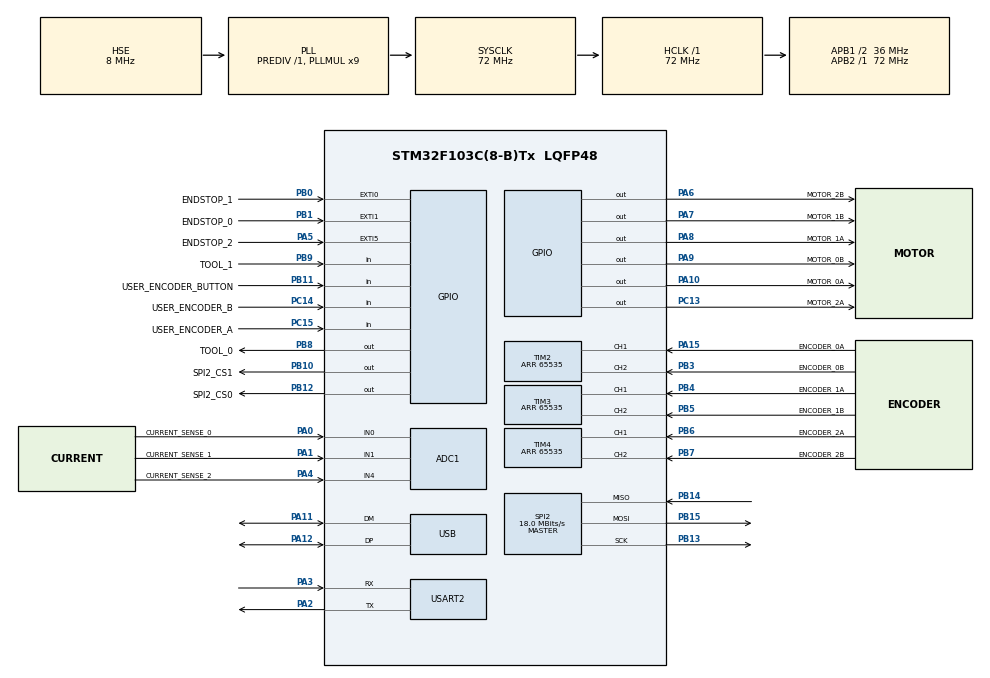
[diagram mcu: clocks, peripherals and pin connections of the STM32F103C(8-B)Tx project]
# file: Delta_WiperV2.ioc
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ADC1.Channel-1\#ChannelRegularConversion=ADC_CHANNEL_0
ADC1.NbrOfConversionFlag=1
ADC1.Rank-1\#ChannelRegularConversion=1
ADC1.SamplingTime-1\#ChannelRegularConversion=ADC_SAMPLETIME_1CYCLE_5
ADC1.master=1
Mcu.Family=STM32F1
Mcu.Name=STM32F103C(8-B)Tx
Mcu.Package=LQFP48
NVIC.EXTI0_IRQn=true\:0\:0\:false\:false\:true\:true\:true
NVIC.EXTI1_IRQn=true\:0\:0\:false\:false\:true\:true\:true
NVIC.EXTI9_5_IRQn=true\:0\:0\:false\:false\:true\:true\:true
NVIC.PriorityGroup=NVIC_PRIORITYGROUP_4
NVIC.TIM1_BRK_IRQn=true\:1\:0\:true\:false\:true\:true\:true
NVIC.TIM1_CC_IRQn=true\:1\:0\:true\:false\:true\:true\:true
NVIC.TIM1_TRG_COM_IRQn=true\:1\:0\:true\:false\:true\:true\:true
NVIC.TIM1_UP_IRQn=true\:1\:0\:true\:false\:true\:true\:true
NVIC.TIM2_IRQn=true\:0\:0\:false\:false\:true\:true\:true
NVIC.TIM3_IRQn=true\:0\:0\:false\:false\:true\:true\:true
NVIC.TIM4_IRQn=true\:0\:0\:false\:false\:true\:true\:true
PA0-WKUP.GPIO_Label=CURRENT_SENSE_0
PA0-WKUP.Signal=ADCx_IN0
PA1.GPIO_Label=CURRENT_SENSE_1
PA1.Signal=ADCx_IN1
PA10.GPIO_Label=MOTOR_0A
PA10.GPIO_Speed=GPIO_SPEED_FREQ_HIGH
PA10.Signal=GPIO_Output
PA11.Mode=Device
PA11.Signal=USB_DM
PA12.Mode=Device
PA12.Signal=USB_DP
PA13.Mode=Serial_Wire
PA13.Signal=SYS_JTMS-SWDIO
PA14.Mode=Serial_Wire
PA14.Signal=SYS_JTCK-SWCLK
PA15.GPIO_Label=ENCODER_0A
PA15.Signal=S_TIM2_CH1_ETR
PA2.Mode=Asynchronous
PA2.Signal=USART2_TX
PA3.Mode=Asynchronous
PA3.Signal=USART2_RX
PA4.GPIO_Label=CURRENT_SENSE_2
PA4.Signal=ADCx_IN4
PA5.GPIO_Label=ENDSTOP_2
PA5.GPIO_ModeDefaultEXTI=GPIO_MODE_IT_RISING_FALLING
PA5.Signal=GPXTI5
PA6.GPIO_Label=MOTOR_2B
PA6.GPIO_ModeDefaultOutputPP=GPIO_MODE_OUTPUT_PP
PA6.GPIO_Speed=GPIO_SPEED_FREQ_HIGH
PA6.Signal=GPIO_Output
PA7.GPIO_Label=MOTOR_1B
PA7.GPIO_Speed=GPIO_SPEED_FREQ_HIGH
PA7.Signal=GPIO_Output
PA8.GPIO_Label=MOTOR_1A
PA8.GPIO_Speed=GPIO_SPEED_FREQ_HIGH
PA8.Signal=GPIO_Output
PA9.GPIO_Label=MOTOR_0B
PA9.GPIO_Speed=GPIO_SPEED_FREQ_HIGH
PA9.Signal=GPIO_Output
PB0.GPIO_Label=ENDSTOP_1
PB0.GPIO_ModeDefaultEXTI=GPIO_MODE_IT_RISING_FALLING
PB0.Signal=GPXTI0
PB1.GPIO_Label=ENDSTOP_0
PB1.GPIO_ModeDefaultEXTI=GPIO_MODE_IT_RISING_FALLING
PB1.Signal=GPXTI1
PB10.GPIO_Label=SPI2_CS1
PB10.GPIO_Speed=GPIO_SPEED_FREQ_HIGH
PB10.Signal=GPIO_Output
PB11.GPIO_Label=USER_ENCODER_BUTTON
PB11.Signal=GPIO_Input
PB12.GPIO_Label=SPI2_CS0
PB12.GPIO_Speed=GPIO_SPEED_FREQ_HIGH
PB12.Signal=GPIO_Output
PB13.Mode=Full_Duplex_Master
PB13.Signal=SPI2_SCK
PB14.Mode=Full_Duplex_Master
PB14.Signal=SPI2_MISO
PB15.Mode=Full_Duplex_Master
PB15.Signal=SPI2_MOSI
PB3.GPIO_Label=ENCODER_0B
PB3.Signal=S_TIM2_CH2
PB4.GPIO_Label=ENCODER_1A
PB4.Signal=S_TIM3_CH1
PB5.GPIO_Label=ENCODER_1B
PB5.Signal=S_TIM3_CH2
PB6.GPIO_Label=ENCODER_2A
PB6.Signal=S_TIM4_CH1
PB7.GPIO_Label=ENCODER_2B
PB7.Signal=S_TIM4_CH2
PB8.GPIO_Label=TOOL_0
PB8.GPIO_Speed=GPIO_SPEED_FREQ_HIGH
PB8.Signal=GPIO_Output
PB9.GPIO_Label=TOOL_1
PB9.Signal=GPIO_Input
PC13-TAMPER-RTC.GPIO_Label=MOTOR_2A
PC13-TAMPER-RTC.GPIO_Speed=GPIO_SPEED_FREQ_HIGH
PC13-TAMPER-RTC.Signal=GPIO_Output
PC14-OSC32_IN.GPIO_Label=USER_ENCODER_B
PC14-OSC32_IN.Signal=GPIO_Input
PC15-OSC32_OUT.GPIO_Label=USER_ENCODER_A
PC15-OSC32_OUT.Signal=GPIO_Input
PD0-OSC_IN.Mode=HSE-External-Oscillator
PD0-OSC_IN.Signal=RCC_OSC_IN
PD1-OSC_OUT.Mode=HSE-External-Oscillator
PD1-OSC_OUT.Signal=RCC_OSC_OUT
ProjectManager.HeapSize=0x200
ProjectManager.StackSize=0x400
ProjectManager.TargetToolchain=STM32CubeIDE
RCC.ADCPresc=RCC_ADCPCLK2_DIV6
RCC.AHBFreq_Value=72000000
RCC.APB1CLKDivider=RCC_HCLK_DIV2
RCC.APB1Freq_Value=36000000
RCC.APB1TimFreq_Value=72000000
RCC.APB2Freq_Value=72000000
RCC.APB2TimFreq_Value=72000000
RCC.HCLKFreq_Value=72000000
RCC.PLLMUL=RCC_PLL_MUL9
RCC.SYSCLKFreq_VALUE=72000000
RCC.SYSCLKSource=RCC_SYSCLKSOURCE_PLLCLK
RCC.USBFreq_Value=48000000
RCC.USBPrescaler=RCC_USBCLKSOURCE_PLL_DIV1_5
SH.ADCx_IN0.0=ADC1_IN0,IN0
SH.ADCx_IN1.0=ADC1_IN1,IN1
SH.ADCx_IN4.0=ADC1_IN4,IN4
SH.S_TIM2_CH1_ETR.0=TIM2_CH1,Encoder_Interface
SH.S_TIM2_CH2.0=TIM2_CH2,Encoder_Interface
SH.S_TIM3_CH1.0=TIM3_CH1,Encoder_Interface
SH.S_TIM3_CH2.0=TIM3_CH2,Encoder_Interface
SH.S_TIM4_CH1.0=TIM4_CH1,Encoder_Interface
SH.S_TIM4_CH2.0=TIM4_CH2,Encoder_Interface
SPI2.CalculateBaudRate=18.0 MBits/s
SPI2.Direction=SPI_DIRECTION_2LINES
SPI2.Mode=SPI_MODE_MASTER
SPI2.VirtualType=VM_MASTER
TIM1.AutoReloadPreload=TIM_AUTORELOAD_PRELOAD_DISABLE
TIM1.BreakState=TIM_BREAK_DISABLE
TIM1.Channel-PWM\ Generation1\ No\ Output=TIM_CHANNEL_1
TIM1.Channel-PWM\ Generation2\ No\ Output=TIM_CHANNEL_2
TIM1.Channel-PWM\ Generation3\ No\ Output=TIM_CHANNEL_3
TIM1.Channel-PWM\ Generation4\ No\ Output=TIM_CHANNEL_4
TIM1.CounterMode=TIM_COUNTERMODE_UP
TIM1.Period=99
TIM1.Prescaler=7199
TIM1.Pulse-PWM\ Generation1\ No\ Output=0
TIM1.Pulse-PWM\ Generation3\ No\ Output=0
TIM1.Pulse-PWM\ Generation4\ No\ Output=98
TIM2.EncoderMode=TIM_ENCODERMODE_TI12
TIM2.Period=65535
TIM3.EncoderMode=TIM_ENCODERMODE_TI12
TIM3.Period=65535
TIM4.EncoderMode=TIM_ENCODERMODE_TI12
TIM4.Period=65535
USART2.VirtualMode=VM_ASYNC
VP_ADC1_TempSens_Input.Mode=IN-TempSens
VP_FATFS_VS_Generic.Mode=User_defined
VP_TIM1_VS_ClockSourceINT.Mode=Internal
VP_TIM1_VS_no_output1.Mode=PWM Generation1 No Output
VP_TIM1_VS_no_output2.Mode=PWM Generation2 No Output
VP_TIM1_VS_no_output3.Mode=PWM Generation3 No Output
VP_TIM1_VS_no_output4.Mode=PWM Generation4 No Output
board=custom

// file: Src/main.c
/* USER CODE BEGIN Header */
/**
  ******************************************************************************
  * @file           : main.c
  * @brief          : Main program body
  ******************************************************************************
  * @attention
  *
  * <h2><center>&copy; Copyright (c) 2019 STMicroelectronics.
  * All rights reserved.</center></h2>
  *
  * This software component is licensed by ST under BSD 3-Clause license,
  * the "License"; You may not use this file except in compliance with the
  * License. You may obtain a copy of the License at:
  *                        opensource.org/licenses/BSD-3-Clause
  *
  ******************************************************************************
  */
/* USER CODE END Header */

#include "main.h"
#include "adc.h"
#include "fatfs.h"
#include "spi.h"
#include "tim.h"
#include "usart.h"
#include "usb.h"
#include "gpio.h"

/* USER CODE BEGIN Includes */
#include "motor.h"
#include "encoder.h"
#include "pid.h"
#include "timer.h"
#include "inverse_kinematics.h"
#include "trajectory.h"
/* USER CODE END Includes */

/* USER CODE BEGIN PV */
float theta1;
float theta2;
float theta3;

float x0 = 0.0;
float y0 = 0.0;
float z0 = -360.0;

float x1 = 0.0;
float y1 = 0.0;
float z1 = -300.0;

float x2 = 0.0;
float y2 = 0.0;
float z2 = -200.0;

float i = 0.0;

volatile float xi;
volatile float yi;
volatile float zi;

float old_x;
float old_y;

float new_x;
float new_y;

/* USER CODE END PV */

void SystemClock_Config(void);

int main(void)
{
  /* USER CODE BEGIN 1 */

	// TODO:
	// programowe krancowki
	// wyrzucenie strefy nievzułości z silnika
	// enkoder zwraca predkosc
	// set zero enkodera na poczatku ruchu zeby nie bylo przeskokow kata
	// dojezdzanie do krancowek ze stala przedkoscia, nie moca
	// na podstawie dojezdzania do krancowek, wyznaczana strefa nieczulosci

  /* USER CODE END 1 */

  /* MCU Configuration--------------------------------------------------------*/

  /* Reset of all peripherals, Initializes the Flash interface and the Systick. */
  HAL_Init();

  /* Configure the system clock */
  SystemClock_Config();

  /* Initialize all configured peripherals */
  MX_GPIO_Init();
  MX_ADC1_Init();
  MX_SPI2_Init();
  MX_TIM1_Init();
  MX_TIM2_Init();
  MX_TIM3_Init();
  MX_TIM4_Init();
  MX_USART2_UART_Init();
  MX_USB_PCD_Init();
  MX_FATFS_Init();
  /* USER CODE BEGIN 2 */
  TIMER_Init(&TIMER_0);
  ENCODER_Init();
  MOTOR_Init();
  PID_init();
  TRAJECTORY_Init();
//  SysTick_Config(SystemCoreClock / 1000);
  HAL_TIM_Encoder_Start(&htim2, TIM_CHANNEL_ALL);
  HAL_TIM_Encoder_Start(&htim3, TIM_CHANNEL_ALL);
  HAL_TIM_Encoder_Start(&htim4, TIM_CHANNEL_ALL);
//  LL_TIM_EnableIT_UPDATE(TIM2);
//  LL_TIM_EnableIT_UPDATE(TIM3);
//  LL_TIM_EnableIT_UPDATE(TIM4);
  LL_TIM_EnableCounter(TIM1);
  LL_TIM_EnableIT_UPDATE(TIM1);
  LL_TIM_EnableIT_CC1(TIM1);
  LL_TIM_EnableIT_CC2(TIM1);
  LL_TIM_EnableIT_CC3(TIM1);
  LL_TIM_EnableIT_CC4(TIM1);
  TIMER_Enable(&TIMER_0);

  /* USER CODE END 2 */

  /* Infinite loop */
  /* USER CODE BEGIN WHILE */
//  MOTOR_SetRequiredSpeed(&MOTOR_0,10); // minus ok // plus nie
//  MOTOR_SetRequiredSpeed(&MOTOR_1,10);	//plus ok // minus nie
//  MOTOR_SetRequiredSpeed(&MOTOR_2,10);  //plus ok //minus ok

	  for(int64_t i = 0; i<3000000; i++) 	{asm("nop");}

	  PID_Enable(&PID_0_Speed);
	  PID_Enable(&PID_1_Speed);
	  PID_Enable(&PID_2_Speed);
  	  PID_SetRequired(&PID_0_Speed, 10);
  	  PID_SetRequired(&PID_1_Speed, 10);
  	  PID_SetRequired(&PID_2_Speed, 10);

//  	for(int64_t i = 0; i<30000000; i++) 	{asm("nop");}

  	  while(!PID_IsEnabled(&PID_0_Pos) || !PID_IsEnabled(&PID_1_Pos)  || !PID_IsEnabled(&PID_2_Pos));
	  delta_calcForward(-ENCODER_GetAbsoluteAngle(&ENCODER_0),-ENCODER_GetAbsoluteAngle(&ENCODER_1),-ENCODER_GetAbsoluteAngle(&ENCODER_2),&xi,&yi,&zi);
	  TRAJECTORY_SetTrajectory(&TRAJECTORY,xi,yi,zi, 50.0*sin(5*i + 3.14/4), 50.0*sin(4*i), -326.5, 3.0);
	  TRAJECTORY_StartTrajectory(&TRAJECTORY);

//	  while(TRAJECTORY_IsBusy(&TRAJECTORY));
//	  TRAJECTORY_SetTrajectory(&TRAJECTORY, 0.0, 0.0, -320.0, 10.0, 0.0,-327.0, 20.0);
//	  TRAJECTORY_StartTrajectory(&TRAJECTORY);

//	  HAL_Delay(3000);
  while (1)
  {
    /* USER CODE END WHILE */

    /* USER CODE BEGIN 3 */

	  delta_calcForward(-ENCODER_GetAbsoluteAngle(&ENCODER_0),-ENCODER_GetAbsoluteAngle(&ENCODER_1),-ENCODER_GetAbsoluteAngle(&ENCODER_2),&xi,&yi,&zi);

//	  while(TRAJECTORY_IsBusy(&TRAJECTORY));
//	  TRAJECTORY_SetTrajectory(&TRAJECTORY, 0.0, 0.0, -320.0, 10.0, 0.0,-320.0, 20.0);
//	  TRAJECTORY_StartTrajectory(&TRAJECTORY);

	  old_x =50.0*sin(5*i + 3.14/4);
	  old_y =50.0*sin(9*i);
	  i+= 0.01;
	  new_x =50.0*sin(5*i + 3.14/4);
	  new_y =50.0*sin(9*i);

	  while(TRAJECTORY_IsBusy(&TRAJECTORY));
//	  delta_calcForward(-ENCODER_GetAbsoluteAngle(&ENCODER_0),-ENCODER_GetAbsoluteAngle(&ENCODER_1),-ENCODER_GetAbsoluteAngle(&ENCODER_2),&xi,&yi,&zi);
	  TRAJECTORY_SetTrajectory(&TRAJECTORY, old_x, old_y, -327.5, new_x, new_y,-327.5, 5.0);
	  TRAJECTORY_StartTrajectory(&TRAJECTORY);

//	  while(TRAJECTORY_IsBusy(&TRAJECTORY));
//	  TRAJECTORY_SetTrajectory(&TRAJECTORY, -50.0, 0.0,-327.0, -10.0, 70.0, -327.0, 5.0);
//	  TRAJECTORY_StartTrajectory(&TRAJECTORY);
//
//	  while(TRAJECTORY_IsBusy(&TRAJECTORY));
//	  TRAJECTORY_SetTrajectory(&TRAJECTORY, -10.0, 70.0, -327.0, 10.0, 0.0,-327.0, 5.0);
//	  TRAJECTORY_StartTrajectory(&TRAJECTORY);
//
//	  while(TRAJECTORY_IsBusy(&TRAJECTORY));
//	  TRAJECTORY_SetTrajectory(&TRAJECTORY, 10.0, 0.0,-327.0, 30.0, 20.0,-327.0, 5.0);
//	  TRAJECTORY_StartTrajectory(&TRAJECTORY);
//
//	  while(TRAJECTORY_IsBusy(&TRAJECTORY));
//	  TRAJECTORY_SetTrajectory(&TRAJECTORY, 30.0, 20.0,-327.0, -10.0, 70.0,-327.0, 5.0);
//	  TRAJECTORY_StartTrajectory(&TRAJECTORY);
//
//	  while(TRAJECTORY_IsBusy(&TRAJECTORY));
//	  TRAJECTORY_SetTrajectory(&TRAJECTORY, -10.0, 70.0,-327.0, 10.0, 0.0,-327.0, 5.0);
//	  TRAJECTORY_StartTrajectory(&TRAJECTORY)

  }
  /* USER CODE END 3 */
}

void SystemClock_Config(void)
{
  RCC_OscInitTypeDef RCC_OscInitStruct = {0};
  RCC_ClkInitTypeDef RCC_ClkInitStruct = {0};
  RCC_PeriphCLKInitTypeDef PeriphClkInit = {0};

  /** Initializes the CPU, AHB and APB busses clocks
  */
  RCC_OscInitStruct.OscillatorType = RCC_OSCILLATORTYPE_HSE;
  RCC_OscInitStruct.HSEState = RCC_HSE_ON;
  RCC_OscInitStruct.HSEPredivValue = RCC_HSE_PREDIV_DIV1;
  RCC_OscInitStruct.HSIState = RCC_HSI_ON;
  RCC_OscInitStruct.PLL.PLLState = RCC_PLL_ON;
  RCC_OscInitStruct.PLL.PLLSource = RCC_PLLSOURCE_HSE;
  RCC_OscInitStruct.PLL.PLLMUL = RCC_PLL_MUL9;
  if (HAL_RCC_OscConfig(&RCC_OscInitStruct) != HAL_OK)
  {
    Error_Handler();
  }
  /** Initializes the CPU, AHB and APB busses clocks
  */
  RCC_ClkInitStruct.ClockType = RCC_CLOCKTYPE_HCLK|RCC_CLOCKTYPE_SYSCLK
                              |RCC_CLOCKTYPE_PCLK1|RCC_CLOCKTYPE_PCLK2;
  RCC_ClkInitStruct.SYSCLKSource = RCC_SYSCLKSOURCE_PLLCLK;
  RCC_ClkInitStruct.AHBCLKDivider = RCC_SYSCLK_DIV1;
  RCC_ClkInitStruct.APB1CLKDivider = RCC_HCLK_DIV2;
  RCC_ClkInitStruct.APB2CLKDivider = RCC_HCLK_DIV1;

  if (HAL_RCC_ClockConfig(&RCC_ClkInitStruct, FLASH_LATENCY_2) != HAL_OK)
  {
    Error_Handler();
  }
  PeriphClkInit.PeriphClockSelection = RCC_PERIPHCLK_ADC|RCC_PERIPHCLK_USB;
  PeriphClkInit.AdcClockSelection = RCC_ADCPCLK2_DIV6;
  PeriphClkInit.UsbClockSelection = RCC_USBCLKSOURCE_PLL_DIV1_5;
  if (HAL_RCCEx_PeriphCLKConfig(&PeriphClkInit) != HAL_OK)
  {
    Error_Handler();
  }
}

void Error_Handler(void)
{
}

/************************ (C) COPYRIGHT STMicroelectronics *****END OF FILE****/
